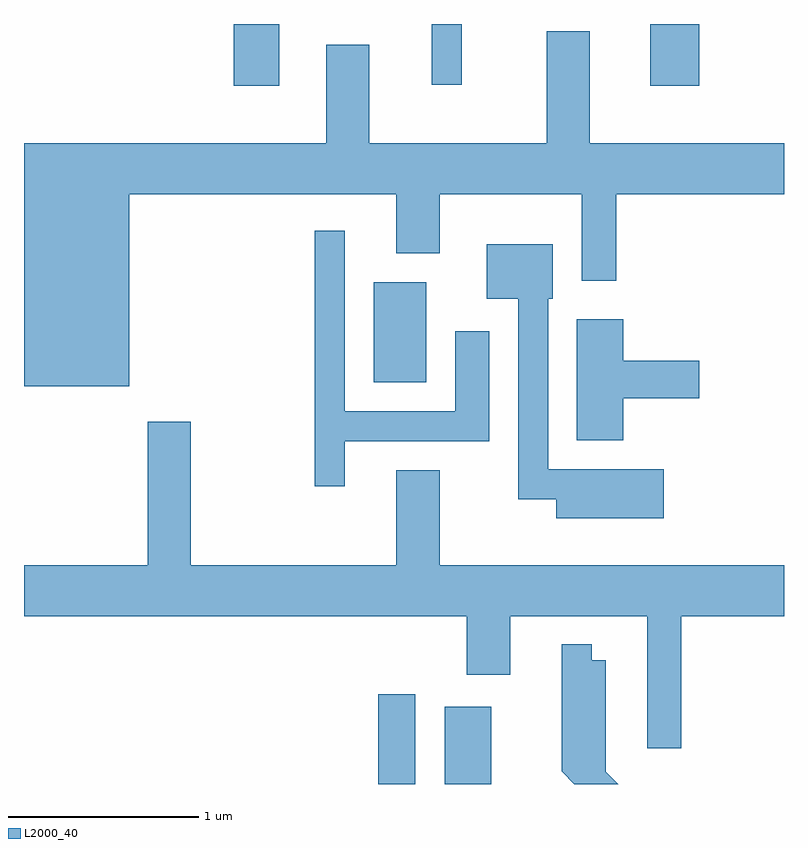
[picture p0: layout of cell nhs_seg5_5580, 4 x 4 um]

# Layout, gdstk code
import gdstk
lib = gdstk.Library(unit=1e-6, precision=1e-09)
def R(c, l, rs):  # rectangles x0, y0, x1, y1
    for r in rs: c.add(gdstk.rectangle(r[:2], r[2:], *l))
def P(c, l, *ps):  # polygons
    for p in ps: c.add(gdstk.Polygon(p, *l))
L2000_40 = (2000, 40)

nhs_seg5_5580 = lib.new_cell('nhs_seg5_5580')
R(nhs_seg5_5580, L2000_40, [(351.476,1518.072,351.669,1518.544), (351.826,1518.072,352.069,1518.479), (351.451,1520.186,351.729,1520.714), (350.716,1521.746,350.954,1522.072), (352.906,1521.746,353.164,1522.072), (351.756,1521.753,351.914,1522.072)])
P(nhs_seg5_5580, L2000_40, [(350.164,1521.176),(351.571,1521.176),(351.571,1520.866),(351.799,1520.866),(351.799,1521.176),(352.546,1521.176),(352.546,1520.721),(352.729,1520.721),(352.729,1521.176),(353.611,1521.176),(353.611,1521.444),(352.589,1521.444),(352.589,1522.034),(352.361,1522.034),(352.361,1521.444),(351.429,1521.444),(351.429,1521.964),(351.201,1521.964),(351.201,1521.444),(349.611,1521.444),(349.611,1520.166),(350.164,1520.166)],
  [(351.299,1519.876),(352.059,1519.876),(352.059,1520.454),(351.881,1520.454),(351.881,1520.034),(351.299,1520.034),(351.299,1520.983),(351.141,1520.983),(351.141,1519.638),(351.299,1519.638)],
  [(352.979,1519.729),(352.369,1519.729),(352.369,1520.626),(352.394,1520.626),(352.394,1520.914),(352.046,1520.914),(352.046,1520.626),(352.211,1520.626),(352.211,1519.571),(352.411,1519.571),(352.411,1519.471),(352.979,1519.471)],
  [(352.764,1520.101),(353.164,1520.101),(353.164,1520.299),(352.764,1520.299),(352.764,1520.519),(352.521,1520.519),(352.521,1519.881),(352.764,1519.881)],
  [(353.069,1518.956),(353.611,1518.956),(353.611,1519.224),(351.799,1519.224),(351.799,1519.724),(351.571,1519.724),(351.571,1519.224),(350.489,1519.224),(350.489,1519.979),(350.261,1519.979),(350.261,1519.224),(349.611,1519.224),(349.611,1518.956),(351.941,1518.956),(351.941,1518.646),(352.169,1518.646),(352.169,1518.956),(352.891,1518.956),(352.891,1518.261),(353.069,1518.261)],
  [(352.674,1518.137),(352.674,1518.724),(352.599,1518.724),(352.599,1518.808),(352.441,1518.808),(352.441,1518.139),(352.508,1518.072),(352.739,1518.072)])

lib.write_gds('nhs_seg5_5580.gds')
